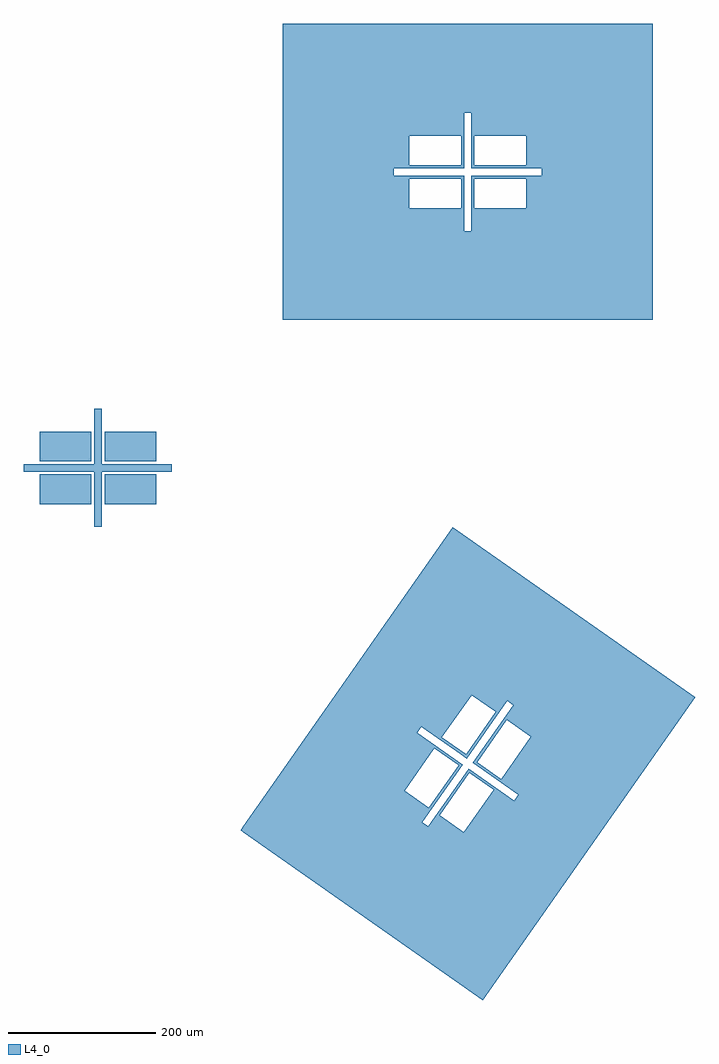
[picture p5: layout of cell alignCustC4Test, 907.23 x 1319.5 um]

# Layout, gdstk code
import gdstk
lib = gdstk.Library(unit=1e-6, precision=1e-09)
def R(c, l, rs):  # rectangles x0, y0, x1, y1
    for r in rs: c.add(gdstk.rectangle(r[:2], r[2:], *l))
def P(c, l, *ps):  # polygons
    for p in ps: c.add(gdstk.Polygon(p, *l))
L4_0 = (4, 0)

aligncustc4test = lib.new_cell('alignCustC4Test')
R(aligncustc4test, L4_0, [(-79,-49,-9,-9), (9,-49,79,-9), (-79,9,-9,49), (9,9,79,49)])
P(aligncustc4test, L4_0, [(-5,-80),(-5,-5),(-100,-5),(-100,5),(-5,5),(-5,80),(5,80),(5,5),(100,5),(100,-5),(5,-5),(5,-80)],
  [(250,200),(250,320),(505,320),(505,351),(579,351),(579,391),(509,391),(509,351),(505,351),(505,395),(600,395),(600,405),(505,405),(505,409),(579,409),(579,449),(509,449),(509,409),(505,409),(505,480),(495,480),(495,405),(400,405),(400,395),(495,395),(495,320),(250,320),(250,351),(491,351),(491,391),(421,391),(421,351),(250,351),(250,409),(491,409),(491,449),(421,449),(421,409),(250,409),(250,600),(750,600),(750,200)],
  [(520.436,-719.503),(196.697,-492.818),(494.826,-492.818),(534.976,-435.478),(502.21,-412.535),(462.06,-469.875),(494.826,-492.818),(196.697,-492.818),(192.775,-490.073),(196.479,-484.783),(446.738,-484.783),(501.228,-406.964),(562.664,-449.982),(568.4,-441.79),(538.327,-420.733),(545.301,-420.733),(585.451,-363.392),(552.685,-340.449),(512.535,-397.79),(545.301,-420.733),(538.327,-420.733),(506.964,-398.772),(561.453,-320.953),(553.262,-315.217),(498.772,-393.036),(490.816,-387.465),(497.79,-387.465),(537.94,-330.125),(505.174,-307.182),(465.024,-364.522),(497.79,-387.465),(490.816,-387.465),(437.336,-350.018),(431.6,-358.21),(493.036,-401.228),(438.547,-479.047),(446.738,-484.783),(196.479,-484.783),(214.147,-459.551),(447.315,-459.551),(487.465,-402.21),(454.699,-379.267),(414.549,-436.608),(447.315,-459.551),(214.147,-459.551),(479.564,-80.497),(807.225,-309.927)])

lib.write_gds('alignCustC4Test.gds')
